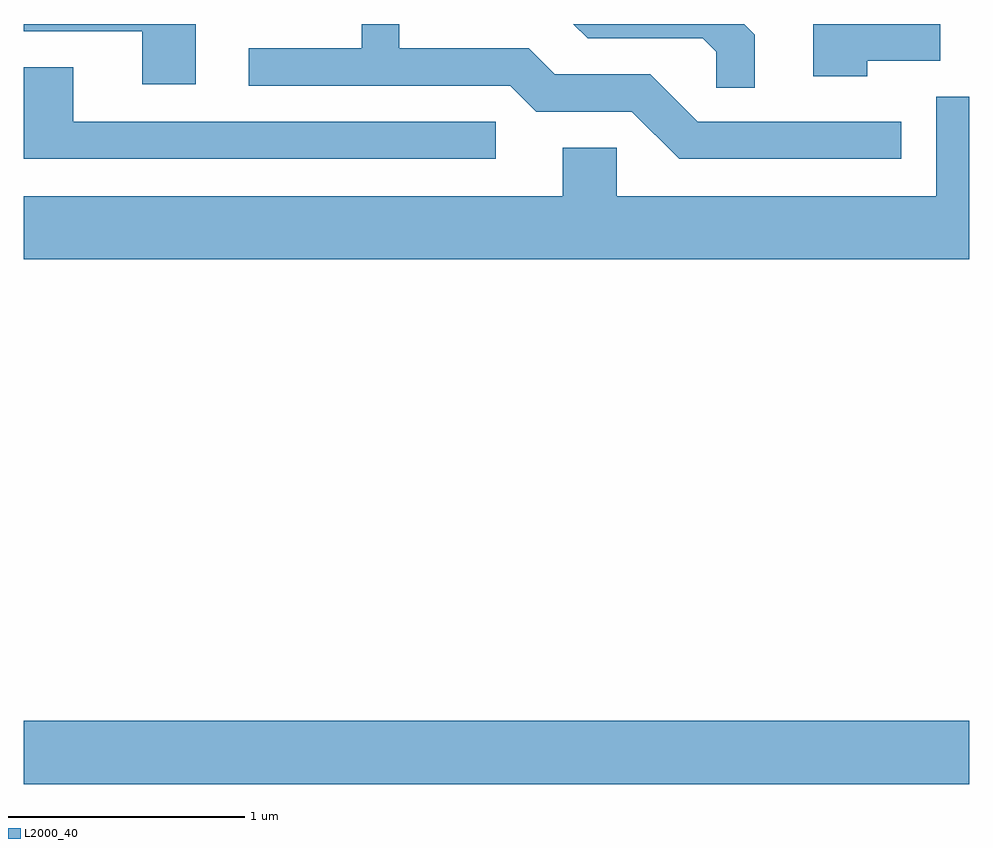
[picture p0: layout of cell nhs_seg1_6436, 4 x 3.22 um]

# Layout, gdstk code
import gdstk
lib = gdstk.Library(unit=1e-6, precision=1e-09)
def R(c, l, rs):  # rectangles x0, y0, x1, y1
    for r in rs: c.add(gdstk.rectangle(r[:2], r[2:], *l))
def P(c, l, *ps):  # polygons
    for p in ps: c.add(gdstk.Polygon(p, *l))
L2000_40 = (2000, 40)

nhs_seg1_6436 = lib.new_cell('nhs_seg1_6436')
R(nhs_seg1_6436, L2000_40, [(379.611,868.496,383.611,868.764)])
P(nhs_seg1_6436, L2000_40, [(382.704,871.667),(382.659,871.712),(381.936,871.712),(381.997,871.651),(382.484,871.651),(382.541,871.594),(382.541,871.443),(382.704,871.443)],
  [(383.179,871.556),(383.489,871.556),(383.489,871.712),(382.951,871.712),(382.951,871.491),(383.179,871.491)],
  [(383.323,871.299),(382.462,871.299),(382.262,871.499),(381.857,871.499),(381.747,871.609),(381.199,871.609),(381.199,871.712),(381.041,871.712),(381.041,871.609),(380.563,871.609),(380.563,871.451),(381.669,871.451),(381.779,871.341),(382.184,871.341),(382.384,871.141),(383.323,871.141)],
  [(380.339,871.712),(379.611,871.712),(379.611,871.681),(380.111,871.681),(380.111,871.456),(380.339,871.456)],
  [(381.608,871.299),(379.819,871.299),(379.819,871.529),(379.611,871.529),(379.611,871.141),(381.608,871.141)],
  [(383.611,871.404),(383.471,871.404),(383.471,870.984),(382.119,870.984),(382.119,871.189),(381.891,871.189),(381.891,870.984),(379.611,870.984),(379.611,870.716),(383.611,870.716)])

lib.write_gds('nhs_seg1_6436.gds')
